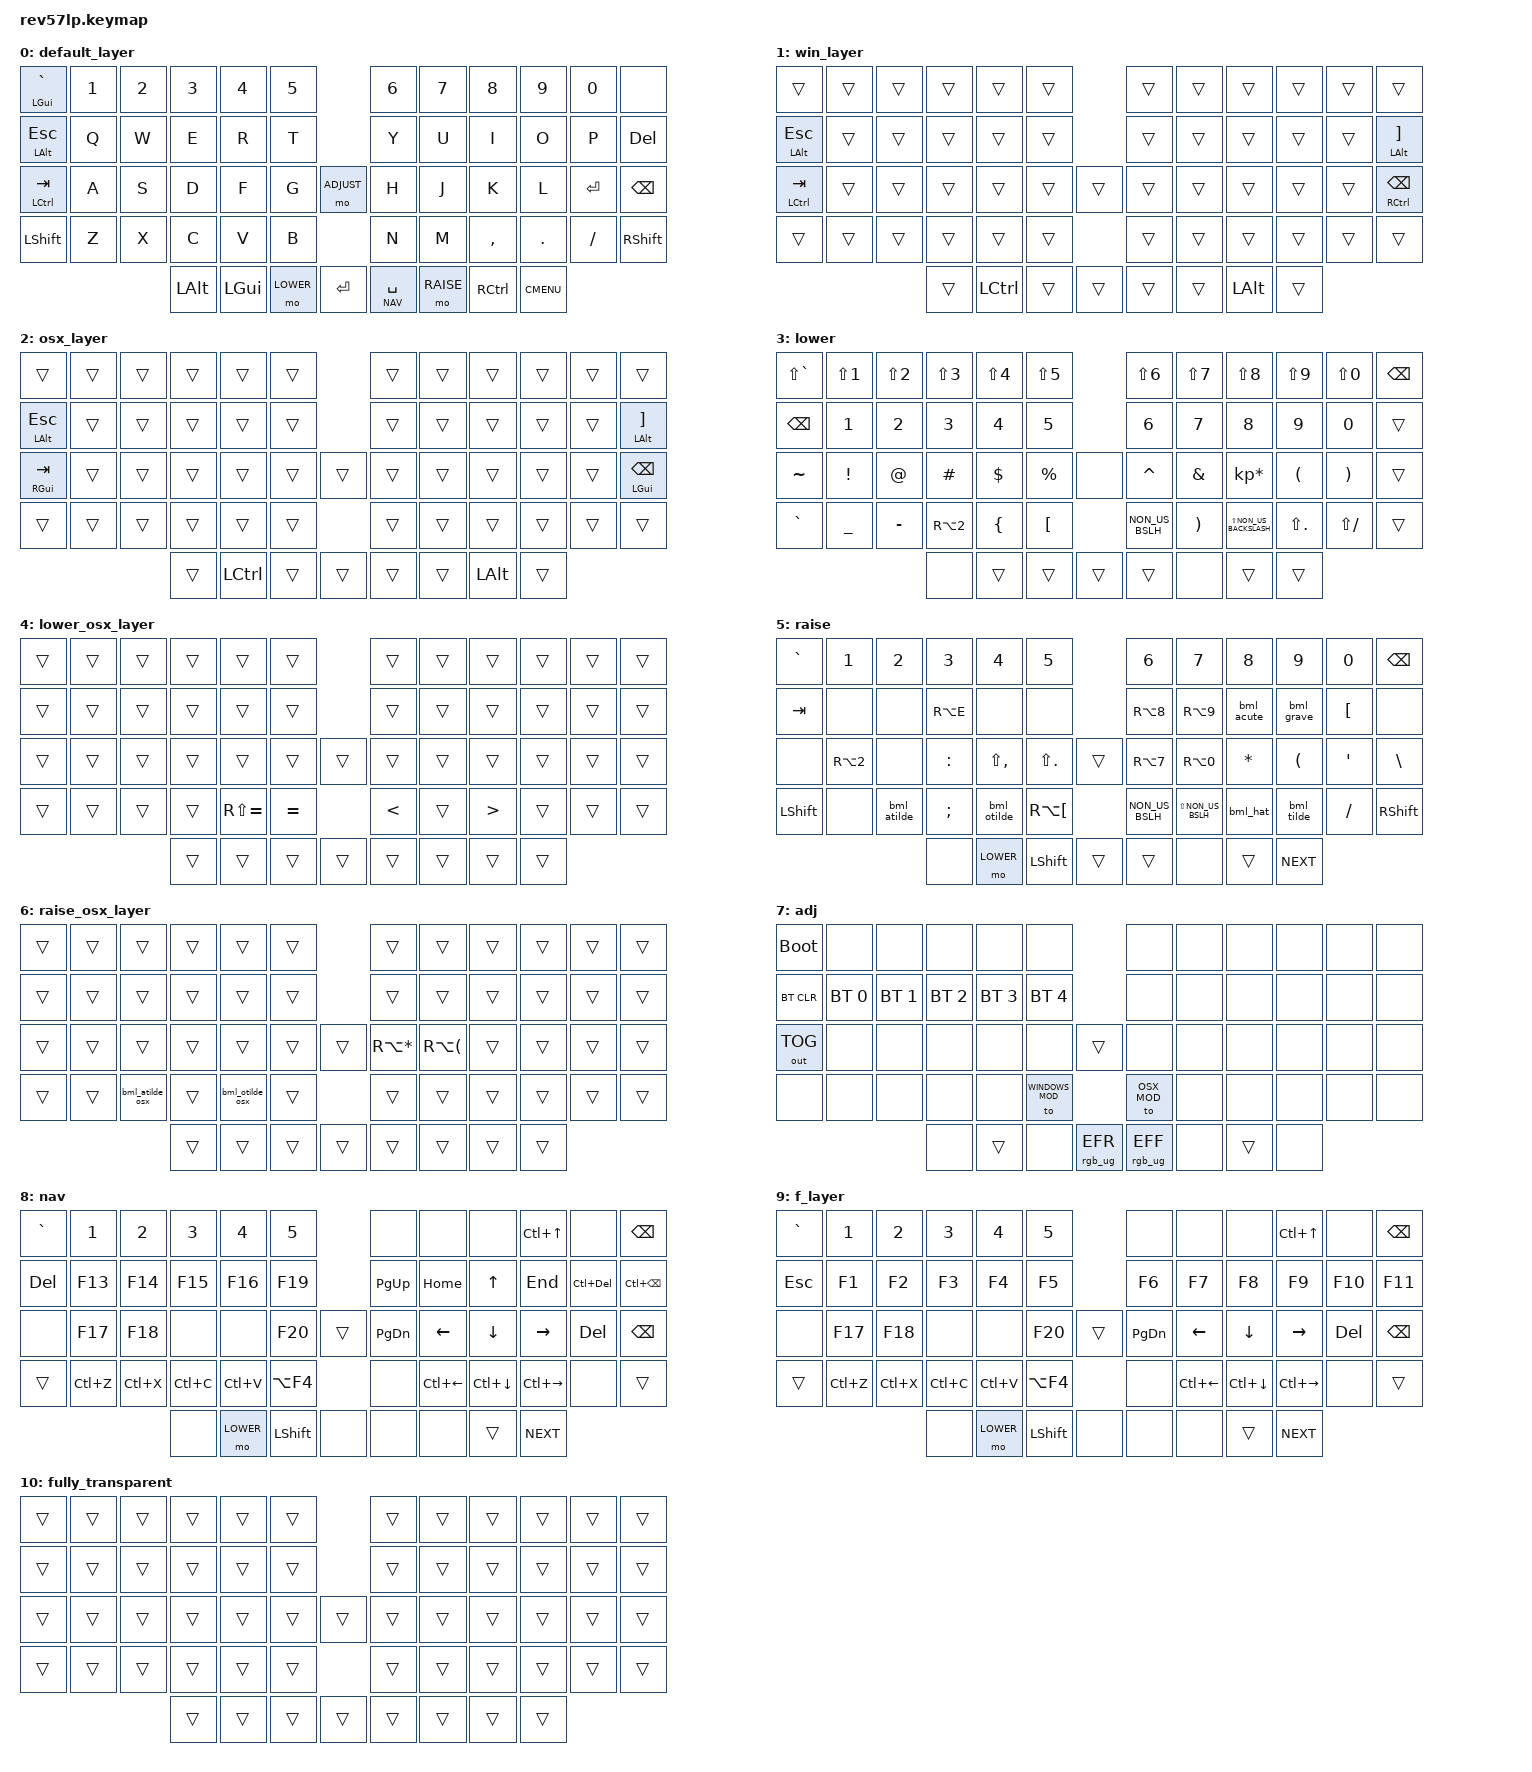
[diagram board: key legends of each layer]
/*
 * Copyright (c) 2022 The ZMK Contributors
 *
 * SPDX-License-Identifier: MIT
 */

#include <behaviors.dtsi>
#include <dt-bindings/zmk/keys.h>
#include <dt-bindings/zmk/bt.h>
#include <dt-bindings/zmk/outputs.h>
#include <dt-bindings/zmk/rgb.h>

// #define DEFAULT 0
// #define LOWER   1
// #define RAISE   2
// #define NAV     3
// #define ADJ     4

#define BASE 0
#define WINDOWS_MOD 1
#define OSX_MOD 2
#define LOWER 3
#define LOWER_OSX 4
#define RAISE 5
#define RAISE_OSX 6
#define ADJUST 7
#define NAV 8
#define FKEYS 9
#define ADJUST_PLUS 10



#define KC_BML_ATILDE 
#define KC_BML_OTILDE 
#define KC_BML_GRAVE 
#define KC_BML_ACUTE 
#define KC_BML_HAT 
#define KC_BML_TILDE 

/ {
    macros {
        bml_atilde: bml_atilde {
          compatible = "zmk,behavior-macro";
          #binding-cells = <0>;
          wait-ms = <30>;
          tap-ms = <40>;
          bindings
              = <&macro_tap &kp BACKSLASH &kp A>
              ;
        };
        bml_atilde_osx: bml_atilde_osx {
          compatible = "zmk,behavior-macro";
          #binding-cells = <0>;
          wait-ms = <30>;
          tap-ms = <40>;
          bindings
              = <&macro_tap &kp APOS &kp A>
              ;
        };
        bml_otilde: bml_otilde {
          compatible = "zmk,behavior-macro";
          #binding-cells = <0>;
          wait-ms = <30>;
          tap-ms = <40>;
          bindings
              = <&macro_tap &kp BACKSLASH &kp O>
              ;
        };
        bml_tilde: bml_tilde {
          compatible = "zmk,behavior-macro";
          #binding-cells = <0>;
          wait-ms = <30>;
          tap-ms = <40>;
          bindings
              = <&macro_tap &kp BACKSLASH &kp SPACE>
              ;
        };         
        bml_otilde_osx: bml_otilde_osx {
          compatible = "zmk,behavior-macro";
          #binding-cells = <0>;
          wait-ms = <30>;
          tap-ms = <40>;
          bindings
              = <&macro_tap &kp APOS &kp O>
              ;
        };
        bml_tilde_osx: bml_tilde_osx {
          compatible = "zmk,behavior-macro";
          #binding-cells = <0>;
          wait-ms = <30>;
          tap-ms = <40>;
          bindings
              = <&macro_tap &kp APOS &kp SPACE>
              ;
        }; 
        bml_hat: bml_hat {
          compatible = "zmk,behavior-macro";
          #binding-cells = <0>;
          wait-ms = <30>;
          tap-ms = <40>;
          bindings
              = <&macro_press &kp LSHFT>
              , <&macro_tap &kp BACKSLASH>
              , <&macro_release &kp LSHFT>
              , <&macro_tap &kp SPACE>
              ; 
        }; 
        bml_acute: bml_acute {
          compatible = "zmk,behavior-macro";
          #binding-cells = <0>;
          wait-ms = <30>;
          tap-ms = <40>;
          bindings
              = <&macro_tap &kp RBKT &kp SPACE>
              ;
        }; 
        bml_grave: bml_grave {
          compatible = "zmk,behavior-macro";
          #binding-cells = <0>;
          wait-ms = <30>;
          tap-ms = <40>;
          bindings
              = <&macro_press &kp LSHFT>
              , <&macro_tap &kp RBKT>
              , <&macro_release &kp LSHFT>
              , <&macro_tap &kp SPACE>
              ;
        };
      };
};

/ {
    conditional_layers {
        compatible = "zmk,conditional-layers";
        win_layer {
            if-layers = <WINDOWS_MOD>;
            then-layer = <BASE>;
        };
        osx_layer {
            if-layers = <OSX_MOD>;
            then-layer = <BASE>;
        };
        lower_osx_layer {
            if-layers = <OSX_MOD LOWER>;
            then-layer = <LOWER_OSX>;
        };
        raise_osx_layer {
            if-layers = <OSX_MOD RAISE>;
            then-layer = <RAISE_OSX>;
        };
    };
};


/ {
    behaviors {
        hm: homerow_mods {
            compatible = "zmk,behavior-hold-tap";
            #binding-cells = <2>;
            tapping-term-ms = <150>;
            quick-tap-ms = <0>;
            flavor = "tap-preferred";
            bindings = <&kp>, <&kp>;
        };
    };

    keymap {
        compatible = "zmk,keymap";
  default_layer {
    // | LGUI|GRAVE | 1 | 2 |  3  |  4  |     5                                    |     6     |  7   |    8    | 9 | 0  |  [X]   |
    // |  LALT|ESC  | Q | W |  E  |  R  |     T                                    |     Y     |  U   |    I    | O | P  |  BSPC  |
    // |  LCTL|TAB  | A | S |  D  |  F  |     G          | [m] ADJ                 |     H     |  J   |    K    | L | ⮠  |  DEL   |
    // |   LSHIFT   | Z | X |  C  |  V  |     B                                    |     N     |  M   |    ,    | . | /  | RSHIFT |
    //                      | ALT | GUI | [m] LOWER | ⮠            | &lt NAV SPACE | [m] RAISE | RCTL | K_CMENU |                  

    bindings = <
      &mt LGUI GRAVE   &kp N1   &kp N2   &kp N3     &kp N4     &kp N5                                          &kp N6      &kp N7     &kp N8        &kp N9    &kp N0     &none       
      &mt LALT ESC     &kp Q    &kp W    &kp E      &kp R      &kp T                                           &kp Y       &kp U      &kp I         &kp O     &kp P      &kp DEL
      &mt LCTL TAB     &kp A    &kp S    &kp D      &kp F      &kp G                 &mo ADJUST                &kp H       &kp J      &kp K         &kp L     &kp RET    &kp BSPC
      &kp LSHIFT       &kp Z    &kp X    &kp C      &kp V      &kp B                                           &kp N       &kp M      &kp COMMA     &kp DOT   &kp FSLH   &kp RSHIFT  
                                         &kp LALT   &kp LGUI   &mo LOWER   &kp RET             &lt NAV SPACE   &mo RAISE   &kp RCTL   &kp K_CMENU                                   
    >;
  };

   win_layer {
    // |           |   |   |   |       |               |   |     |   |   |   |               |
    // | LALT|ESC  |   |   |   |       |               |   |     |   |   |   | &hm LALT RBKT |
    // | LCTRL|TAB |   |   |   |       |       |       |   |     |   |   |   |  RCTRL|BSPC   |
    // |           |   |   |   |       |               |   |     |   |   |   |               |
    //                     |   | LCTRL |   |       |   |   | ALT |   |                        

    bindings = <
      &trans          &trans   &trans   &trans   &trans      &trans                              &trans   &trans     &trans   &trans   &trans   &trans          
      &mt LALT ESC    &trans   &trans   &trans   &trans      &trans                              &trans   &trans     &trans   &trans   &trans   &hm LALT RBKT   
      &mt LCTRL TAB   &trans   &trans   &trans   &trans      &trans            &trans            &trans   &trans     &trans   &trans   &trans   &mt RCTRL BSPC  
      &trans          &trans   &trans   &trans   &trans      &trans                              &trans   &trans     &trans   &trans   &trans   &trans          
                                        &trans   &kp LCTRL   &trans   &trans            &trans   &trans   &kp LALT   &trans                                    
    >;
  };


  osx_layer {
    // |          |   |   |   |       |               |   |     |   |   |   |               |
    // | LALT|ESC |   |   |   |       |               |   |     |   |   |   | &hm LALT RBKT |
    // | RGUI|TAB |   |   |   |       |       |       |   |     |   |   |   |   LGUI|BSPC   |
    // |          |   |   |   |       |               |   |     |   |   |   |               |
    //                    |   | LCTRL |   |       |   |   | ALT |   |                        

    bindings = <
      &trans         &trans   &trans   &trans   &trans      &trans                              &trans   &trans     &trans   &trans   &trans   &trans         
      &mt LALT ESC   &trans   &trans   &trans   &trans      &trans                              &trans   &trans     &trans   &trans   &trans   &hm LALT RBKT  
      &mt RGUI TAB   &trans   &trans   &trans   &trans      &trans            &trans            &trans   &trans     &trans   &trans   &trans   &mt LGUI BSPC  
      &trans         &trans   &trans   &trans   &trans      &trans                              &trans   &trans     &trans   &trans   &trans   &trans         
                                       &trans   &kp LCTRL   &trans   &trans            &trans   &trans   &kp LALT   &trans                                   
    >;
  };

  lower {
    // | LS(GRAVE) | LS(N1) | LS(N2) | LS(N3) | LS(N4) | LS(N5)               |   LS(N6)    |  LS(N7)   |        LS(N8)        | LS(N9)  |  LS(N0)  | BSPC |
    // |   BSPC    |   1    |   2    |   3    |   4    |   5                  |      6      |     7     |          8           |    9    |    0     |      |
    // |     ~     |   !    |   @    |   #    |   $    |   %        | [X]     |      ^      |     &     |          #*          |    (    |    )     |      |
    // |     `     | UNDER  |   -    | RA(N2) |   {    |   [                  | NON_US_BSLH |     )     | LS(NON_US_BACKSLASH) | LS(DOT) | LS(FSLH) |      |
    //                               |  [X]   |        |        |         |   |     [X]     | [m] trans |                      |                            

    bindings = <
      &kp LS(GRAVE)   &kp LS(N1)   &kp LS(N2)   &kp LS(N3)   &kp LS(N4)   &kp LS(N5)                             &kp LS(N6)        &kp LS(N7)   &kp LS(N8)                 &kp LS(N9)    &kp LS(N0)     &kp BSPC  
      &kp BSPC        &kp N1       &kp N2       &kp N3       &kp N4       &kp N5                                 &kp N6            &kp N7       &kp N8                     &kp N9        &kp N0         &trans    
      &kp TILDE       &kp EXCL     &kp AT       &kp HASH     &kp DLLR     &kp PRCNT             &none            &kp CARET         &kp AMPS     &kp KP_ASTERISK            &kp LPAR      &kp RPAR       &trans    
      &kp GRAVE       &kp UNDER    &kp MINUS    &kp RA(N2)   &kp LBRC     &kp LBKT                               &kp NON_US_BSLH   &kp RPAR     &kp LS(NON_US_BACKSLASH)   &kp LS(DOT)   &kp LS(FSLH)   &trans    
                                                &none        &trans       &trans       &trans           &trans   &none             &trans       &trans                                                           
    >;
  };

  lower_osx_layer {
    bindings = <
      &trans   &trans   &trans   &trans   &trans          &trans                                 &trans          &trans   &trans             &trans   &trans   &trans  
      &trans   &trans   &trans   &trans   &trans          &trans                                 &trans          &trans   &trans             &trans   &trans   &trans  
      &trans   &trans   &trans   &trans   &trans          &trans               &trans            &trans          &trans   &trans             &trans   &trans   &trans  
      &trans   &trans   &trans   &trans   &kp RS(EQUAL)   &kp EQUAL                              &kp LESS_THAN   &trans   &kp GREATER_THAN   &trans   &trans   &trans  
                                 &trans   &trans          &trans      &trans            &trans   &trans          &trans   &trans                                      
    >;
  };



  raise {
    // |   `    |   1    |      2      |     3     |      4      |    5                 |      6      |        7        |     8      |     9      |  0   |  BSPC  |
    // |  TAB   |  [X]   |     [X]     |   RA(E)   |     [X]     |   [X]                |   RA(N8)    |     RA(N9)      | &bml_acute | &bml_grave |  [   |  [X]   |
    // |  [X]   | RA(N2) |     [X]     |   COLON   |  LS(COMMA)  | LS(DOT)      |       |   RA(N7)    |     RA(N0)      |     *      |     (      | APOS |   \    |
    // | LSHIFT |  [X]   | &bml_atilde | SEMICOLON | &bml_otilde | RA(LBKT)             | NON_US_BSLH | LS(NON_US_BSLH) |  &bml_hat  | &bml_tilde |  /   | RSHIFT |
    //                                 |    [X]    |  [m] LOWER  |  LSHIFT  |       |   |     [X]     |                 |   C_NEXT   |                             

    bindings = <
      &kp GRAVE    &kp N1       &kp N2        &kp N3          &kp N4          &kp N5                                    &kp N6            &kp N7                &kp N8       &kp N9       &kp N0     &kp BSPC    
      &kp TAB      &none        &none         &kp RA(E)       &none           &none                                     &kp RA(N8)        &kp RA(N9)            &bml_acute   &bml_grave   &kp LBKT   &none       
      &none        &kp RA(N2)   &none         &kp COLON       &kp LS(COMMA)   &kp LS(DOT)             &trans            &kp RA(N7)        &kp RA(N0)            &kp STAR     &kp LPAR     &kp APOS   &kp BSLH    
      &kp LSHIFT   &none        &bml_atilde   &kp SEMICOLON   &bml_otilde     &kp RA(LBKT)                              &kp NON_US_BSLH   &kp LS(NON_US_BSLH)   &bml_hat     &bml_tilde   &kp FSLH   &kp RSHIFT  
                                              &none           &mo LOWER       &kp LSHIFT     &trans            &trans   &none             &trans                &kp C_NEXT                                      
    >;
  };

  raise_osx_layer {
    // |   |   |                 |   |                 |               |          |          |   |   |   |   |
    // |   |   |                 |   |                 |               |          |          |   |   |   |   |
    // |   |   |                 |   |                 |       |       | RA(STAR) | RA(LPAR) |   |   |   |   |
    // |   |   | &bml_atilde_osx |   | &bml_otilde_osx |               |          |          |   |   |   |   |
    //                           |   |                 |   |       |   |          |          |   |            

    bindings = <
      &trans   &trans   &trans            &trans   &trans            &trans                              &trans         &trans         &trans   &trans   &trans   &trans  
      &trans   &trans   &trans            &trans   &trans            &trans                              &trans         &trans         &trans   &trans   &trans   &trans  
      &trans   &trans   &trans            &trans   &trans            &trans            &trans            &kp RA(STAR)   &kp RA(LPAR)   &trans   &trans   &trans   &trans  
      &trans   &trans   &bml_atilde_osx   &trans   &bml_otilde_osx   &trans                              &trans         &trans         &trans   &trans   &trans   &trans  
                                          &trans   &trans            &trans   &trans            &trans   &trans         &trans         &trans                            
    >;
  };

  adj {
    // | &bootloader  |   [X]    |   [X]    |   [X]    |   [X]    |       [X]                                 |     [X]     | [X] | [X] | [X] | [X] | [X] |
    // |    bt CLR    | bt SEL 0 | bt SEL 1 | bt SEL 2 | bt SEL 3 |    bt SEL 4                               |     [X]     | [X] | [X] | [X] | [X] | [X] |
    // | &out OUT_TOG |   [X]    |   [X]    |   [X]    |   [X]    |       [X]                  |              |     [X]     | [X] | [X] | [X] | [X] | [X] |
    // |    &none.    |   [X]    |   [X]    |   [X]    |   [X]    | &to WINDOWS_MOD                           | &to OSX_MOD | [X] | [X] | [X] | [X] | [X] |
    //                                      |   [X]    |          |       [X]       | rgb ANI-     | rgb ANI+ |     [X]     |     | [X] |                  

    bindings = <
      &bootloader    &none          &none          &none          &none          &none                                                          &none         &none    &none   &none   &none   &none  
      &bt BT_CLR     &bt BT_SEL 0   &bt BT_SEL 1   &bt BT_SEL 2   &bt BT_SEL 3   &bt BT_SEL 4                                                   &none         &none    &none   &none   &none   &none  
      &out OUT_TOG   &none          &none          &none          &none          &none                               &trans                     &none         &none    &none   &none   &none   &none  
      &none          &none          &none          &none          &none          &to WINDOWS_MOD                                                &to OSX_MOD   &none    &none   &none   &none   &none  
                                                   &none          &trans         &none             &rgb_ug RGB_EFR            &rgb_ug RGB_EFF   &none         &trans   &none                         
    >;
  };


  nav {
    // |  `  |   1   |   2   |   3   |     4     |   5                |    [X]    |   [X]    |   [X]    |  LC(UP)   |   [X]   |   BSPC   |
    // | DEL |  F13  |  F14  |  F15  |    F16    |  F19               |  PAGE_UP  |   HOME   |    ^     |    END    | LC(DEL) | LC(BSPC) |
    // | [X] |  F17  |  F18  |  [X]  |    [X]    |  F20       |       | PAGE_DOWN |    <-    |    v     |    ->     |   DEL   |   BSPC   |
    // |     | LC(Z) | LC(X) | LC(C) |   LC(V)   | LA(F4)             |    [X]    | LC(LEFT) | LC(DOWN) | LC(RIGHT) |   [X]   |          |
    //                       |  [X]  | [m] LOWER | LSHIFT |       |   |    [X]    |          |  C_NEXT  |                                 

    bindings = <
      &kp GRAVE   &kp N1      &kp N2      &kp N3      &kp N4      &kp N5                                  &none           &none          &none          &kp LC(UP)      &none         &kp BSPC      
      &kp DEL     &kp F13     &kp F14     &kp F15     &kp F16     &kp F19                                 &kp PAGE_UP     &kp HOME       &kp UP         &kp END         &kp LC(DEL)   &kp LC(BSPC)  
      &none       &kp F17     &kp F18     &none       &none       &kp F20               &trans            &kp PAGE_DOWN   &kp LEFT       &kp DOWN       &kp RIGHT       &kp DEL       &kp BSPC      
      &trans      &kp LC(Z)   &kp LC(X)   &kp LC(C)   &kp LC(V)   &kp LA(F4)                              &none           &kp LC(LEFT)   &kp LC(DOWN)   &kp LC(RIGHT)   &none         &trans        
                                          &none       &mo LOWER   &kp LSHIFT   &none            &none   &none           &trans         &kp C_NEXT                                                
    >;
  };

  f_layer {
    // |  `  |   1   |   2   |   3   |     4     |   5                    |    [X]    |   [X]    |   [X]    |  LC(UP)   | [X] | BSPC |
    // | ESC |  F1   |  F2   |  F3   |    F4     |   F5                   |    F6     |    F7    |    F8    |    F9     | F10 | F11  |
    // | [X] |  F17  |  F18  |  [X]  |    [X]    |  F20         |         | PAGE_DOWN |    <-    |    v     |    ->     | DEL | BSPC |
    // |     | LC(Z) | LC(X) | LC(C) |   LC(V)   | LA(F4)                 |    [X]    | LC(LEFT) | LC(DOWN) | LC(RIGHT) | [X] |      |
    //                       |  [X]  | [m] LOWER | LSHIFT | [X]     | [X] |    [X]    |          |  C_NEXT  |                         

    bindings = <
      &kp GRAVE   &kp N1      &kp N2      &kp N3      &kp N4      &kp N5                                &none           &none          &none          &kp LC(UP)      &none     &kp BSPC  
      &kp ESC     &kp F1      &kp F2      &kp F3      &kp F4      &kp F5                                &kp F6          &kp F7         &kp F8         &kp F9          &kp F10   &kp F11   
      &none       &kp F17     &kp F18     &none       &none       &kp F20              &trans           &kp PAGE_DOWN   &kp LEFT       &kp DOWN       &kp RIGHT       &kp DEL   &kp BSPC  
      &trans      &kp LC(Z)   &kp LC(X)   &kp LC(C)   &kp LC(V)   &kp LA(F4)                            &none           &kp LC(LEFT)   &kp LC(DOWN)   &kp LC(RIGHT)   &none     &trans    
                                          &none       &mo LOWER   &kp LSHIFT   &none            &none   &none           &trans         &kp C_NEXT                                        
    >;
  };


  fully_transparent {
    // |   |   |   |   |   |               |   |   |   |   |   |   |
    // |   |   |   |   |   |               |   |   |   |   |   |   |
    // |   |   |   |   |   |       |       |   |   |   |   |   |   |
    // |   |   |   |   |   |               |   |   |   |   |   |   |
    //             |   |   |   |       |   |   |   |   |            

    bindings = <
      &trans   &trans   &trans   &trans   &trans   &trans                              &trans   &trans   &trans   &trans   &trans   &trans  
      &trans   &trans   &trans   &trans   &trans   &trans                              &trans   &trans   &trans   &trans   &trans   &trans  
      &trans   &trans   &trans   &trans   &trans   &trans            &trans            &trans   &trans   &trans   &trans   &trans   &trans  
      &trans   &trans   &trans   &trans   &trans   &trans                              &trans   &trans   &trans   &trans   &trans   &trans  
                                 &trans   &trans   &trans   &trans            &trans   &trans   &trans   &trans                            
    >;
  };



    };
};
